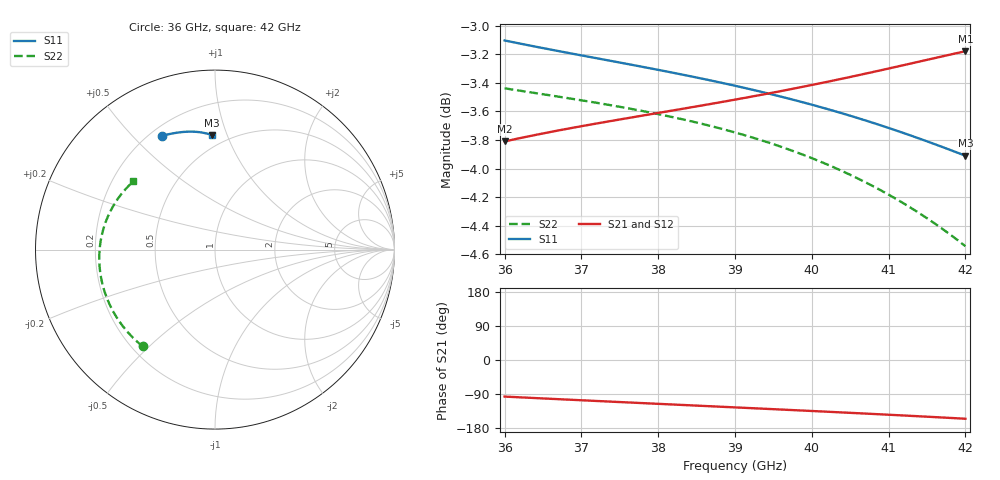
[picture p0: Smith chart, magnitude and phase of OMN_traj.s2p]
! Created Fri Jun 27 12:03:18 2025
# hz S ma R 50
! 2 Port Network Data from SP1.SP block
! freq  magS11  angS11  magS21  angS21  magS12  angS12  magS22  angS22
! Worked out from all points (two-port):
!   61 points, 36 GHz to 42 GHz, reference 50 ohm
!   highest |S21| = -3.18 dB at 42 GHz (marker M1); lowest = -3.8 dB at 36 GHz (marker M2)
!   |S21| within 3 dB of the highest: start of sweep to end of sweep
!   lowest |S11| = -3.9 dB at 42 GHz (marker M3), VSWR 4.52, Z = 20.6 + j44.3 ohm
!   |S11| at or under -10 dB: nowhere
!   |S22| runs from -4.5 to -3.4 dB; largest |S21 - S12| = 0
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3.6e10  0.6995 115.0  0.6449 -96.6  0.6449 -96.6  0.6731 -126.8
3.65e10  0.6952 113.0  0.649 -101.4  0.649 -101.4  0.6699 -134.7
3.7e10  0.6911 111.1  0.6528 -106.2  0.6528 -106.2  0.6666 -142.4
3.75e10  0.6872 109.2  0.6564 -111.0  0.6564 -111.0  0.6631 -149.9
3.78e10  0.6848 108.0  0.6585 -113.8  0.6585 -113.8  0.6608 -154.4
3.8e10  0.6831 107.2  0.6598 -115.7  0.6598 -115.7  0.6592 -157.3
3.83e10  0.6806 106.0  0.6619 -118.5  0.6619 -118.5  0.6566 -161.8
3.85e10  0.6789 105.1  0.6633 -120.4  0.6633 -120.4  0.6548 -164.7
3.88e10  0.6763 103.9  0.6655 -123.2  0.6655 -123.2  0.6517 -169.1
3.9e10  0.6744 103.1  0.667 -125.1  0.667 -125.1  0.6496 -172.0
3.93e10  0.6716 101.9  0.6692 -127.9  0.6692 -127.9  0.646 -176.4
3.95e10  0.6696 101.1  0.6708 -129.8  0.6708 -129.8  0.6434 -179.3
3.98e10  0.6664 99.9  0.6732 -132.6  0.6732 -132.6  0.6393 176.2
4e10  0.6642 99.0  0.6749 -134.6  0.6749 -134.6  0.6363 173.2
4.03e10  0.6608 97.8  0.6775 -137.5  0.6775 -137.5  0.6313 168.7
4.05e10  0.6584 97.0  0.6792 -139.4  0.6792 -139.4  0.6278 165.6
4.08e10  0.6546 95.9  0.682 -142.4  0.682 -142.4  0.622 160.9
4.1e10  0.6519 95.1  0.6839 -144.4  0.6839 -144.4  0.6178 157.6
4.13e10  0.6478 93.9  0.6867 -147.5  0.6867 -147.5  0.6111 152.6
4.15e10  0.6449 93.2  0.6887 -149.6  0.6887 -149.6  0.6062 149.2
4.18e10  0.6405 92.1  0.6916 -152.8  0.6916 -152.8  0.5983 143.9
4.2e10  0.6375 91.4  0.6935 -155.0  0.6935 -155.0  0.5927 140.2
